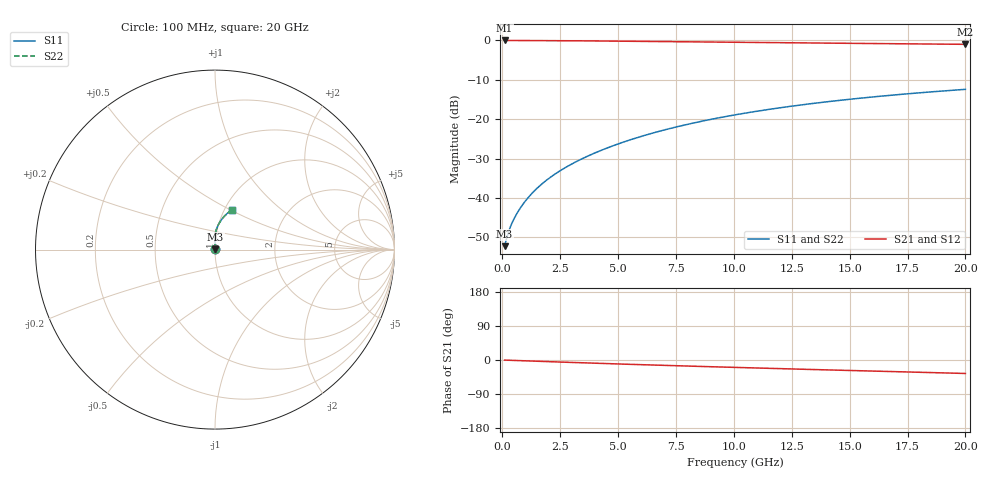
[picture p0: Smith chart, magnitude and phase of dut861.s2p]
! Touchstone file exported from HFSS 2024.1.0
!  File:  C:/UserFiles/LocalFiles/RDL_TSV_Batchsim/temp_RDL_top_861_1779856071.aedt
!  Generated:  12:29:53 PM May 27, 2026
!  Design:  RDL_top
!  Project:  temp_RDL_top_861_1779856071
!  Setup:  Setup1
!  Solution:  Sweep
! Variables:
!  dtsv = 10.80580581um
!  hbump = 3um
!  htsv = 53.53um
!  ldown = 100um
!  lrdl = 590.66um
!  p = 40
!  p1 = 40.42um
!  rhole = 1um
!  t = 450um
!  tdown = 3.915915916um
!  trdl = 4.23um
!  wdown = 15.38538539um
!  wrdl = 25.6um
# GHz S MA R 50.000000
! Terminal data exported
! Port[1] = Box2_T1
! Port[2] = Box2_T2
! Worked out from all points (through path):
!   200 points, 100 MHz to 20 GHz, reference 50 ohm
!   highest |S21| = -0.02 dB at 100 MHz (marker M1); lowest = -1.0 dB at 20 GHz (marker M2)
!   group delay of S21, straight-line fit = 4.86 ps
!   lowest |S11| = -52.2 dB at 100 MHz (marker M3), VSWR 1.00, Z = 50.2 + j0.114 ohm
!   |S11| at or under -10 dB: start of sweep to end of sweep
!   |S22| runs from -52.2 to -12.4 dB; largest |S21 - S12| = 3.1e-15
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0.1  0.002449 27.6  0.9978 -0.2  0.9978 -0.2  0.002449 27.6
! Gamma 0 0 0 0
! Port Impedance 50 0 50 0
0.2  0.003186 42.2  0.9976 -0.5  0.9976 -0.5  0.003186 42.2
0.3  0.003948 50.1  0.9973 -0.7  0.9973 -0.7  0.003948 50.1
0.4  0.004681 55.5  0.9971 -0.9  0.9971 -0.9  0.004682 55.5
0.5  0.005404 59.8  0.997 -1.1  0.997 -1.1  0.005404 59.8
0.8  0.007627 68.9  0.9965 -1.8  0.9965 -1.8  0.007627 68.9
1  0.009181 73.0  0.9961 -2.2  0.9961 -2.2  0.009181 73.0
1.2  0.01079 76.2  0.9957 -2.6  0.9957 -2.6  0.01079 76.2
1.7  0.01499 81.5  0.9943 -3.7  0.9943 -3.7  0.01499 81.5
2.2  0.01943 84.9  0.9926 -4.8  0.9926 -4.8  0.01943 84.9
2.8  0.02506 87.6  0.9901 -6.0  0.9901 -6.0  0.02506 87.6
3.5  0.03205 89.6  0.9867 -7.5  0.9867 -7.5  0.03205 89.5
4.2  0.03949 90.7  0.9828 -8.9  0.9828 -8.9  0.03949 90.7
5  0.04852 91.2  0.978 -10.5  0.978 -10.5  0.04852 91.2
5.9  0.05927 91.2  0.9723 -12.2  0.9723 -12.2  0.05926 91.2
6.8  0.07052 90.6  0.9665 -13.8  0.9665 -13.8  0.07051 90.6
8.4  0.09138 88.6  0.9563 -16.7  0.9563 -16.7  0.09137 88.6
10.1  0.1142 85.9  0.9457 -19.6  0.9457 -19.6  0.1142 85.8
11.7  0.1357 82.9  0.9361 -22.3  0.9361 -22.3  0.1357 82.9
13.4  0.1583 79.7  0.9264 -25.1  0.9264 -25.1  0.1582 79.6
16.7  0.2003 73.3  0.9083 -30.4  0.9083 -30.4  0.2002 73.2
20  0.2392 67.2  0.891 -35.5  0.891 -35.5  0.2391 67.1
